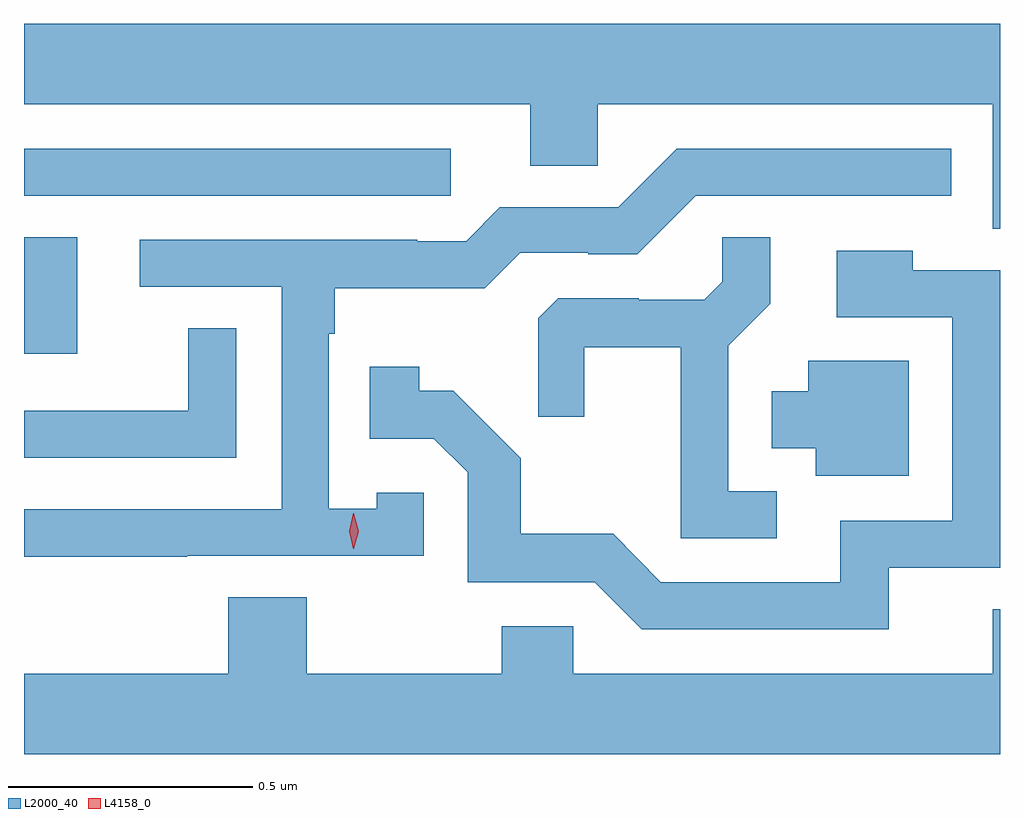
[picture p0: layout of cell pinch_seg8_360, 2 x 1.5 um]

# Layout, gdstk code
import gdstk
lib = gdstk.Library(unit=1e-6, precision=1e-09)
def R(c, l, rs):  # rectangles x0, y0, x1, y1
    for r in rs: c.add(gdstk.rectangle(r[:2], r[2:], *l))
def P(c, l, *ps):  # polygons
    for p in ps: c.add(gdstk.Polygon(p, *l))
L2000_40 = (2000, 40)
L4158_0 = (4158, 0)

pinch_seg8_360 = lib.new_cell('pinch_seg8_360')
R(pinch_seg8_360, L2000_40, [(435,1126.644,435.109,1126.883), (435,1126.968,435.874,1127.064)])
P(pinch_seg8_360, L2000_40, [(437,1127.32),(435,1127.32),(435,1127.156),(436.037,1127.156),(436.037,1127.029),(436.176,1127.029),(436.176,1127.156),(436.985,1127.156),(436.985,1126.9),(437,1126.9)],
  [(435.335,1126.23),(435.819,1126.23),(435.819,1126.359),(435.723,1126.359),(435.723,1126.327),(435.624,1126.327),(435.624,1126.685),(435.637,1126.685),(435.637,1126.778),(435.944,1126.778),(436.017,1126.851),(436.156,1126.851),(436.156,1126.848),(436.257,1126.848),(436.377,1126.968),(436.9,1126.968),(436.9,1127.064),(436.338,1127.064),(436.218,1126.944),(435.975,1126.944),(435.906,1126.875),(435.806,1126.875),(435.806,1126.878),(435.237,1126.878),(435.237,1126.782),(435.528,1126.782),(435.528,1126.326),(435,1126.326),(435,1126.228),(435.335,1126.228)],
  [(436.543,1126.362),(436.443,1126.362),(436.443,1126.661),(436.529,1126.747),(436.529,1126.883),(436.431,1126.883),(436.431,1126.792),(436.394,1126.755),(436.26,1126.755),(436.26,1126.758),(436.095,1126.758),(436.054,1126.717),(436.054,1126.515),(436.148,1126.515),(436.148,1126.658),(436.346,1126.658),(436.346,1126.266),(436.543,1126.266)],
  [(436.772,1126.206),(437,1126.206),(437,1126.815),(436.821,1126.815),(436.821,1126.855),(436.665,1126.855),(436.665,1126.719),(436.902,1126.719),(436.902,1126.302),(436.673,1126.302),(436.673,1126.176),(436.305,1126.176),(436.207,1126.275),(436.018,1126.275),(436.018,1126.43),(435.88,1126.568),(435.81,1126.568),(435.81,1126.618),(435.709,1126.618),(435.709,1126.47),(435.84,1126.47),(435.909,1126.401),(435.909,1126.176),(436.17,1126.176),(436.266,1126.08),(436.772,1126.08)],
  [(435.435,1126.697),(435.337,1126.697),(435.337,1126.527),(435,1126.527),(435,1126.431),(435.435,1126.431)],
  [(436.813,1126.63),(436.607,1126.63),(436.607,1126.567),(436.532,1126.567),(436.532,1126.451),(436.622,1126.451),(436.622,1126.394),(436.813,1126.394)],
  [(437,1126.121),(436.985,1126.121),(436.985,1125.988),(436.125,1125.988),(436.125,1126.086),(435.979,1126.086),(435.979,1125.988),(435.579,1125.988),(435.579,1126.145),(435.419,1126.145),(435.419,1125.988),(435,1125.988),(435,1125.824),(437,1125.824)])
P(pinch_seg8_360, L4158_0, [(435.675,1126.245),(435.666,1126.281),(435.675,1126.317),(435.676,1126.317),(435.676,1126.317),(435.686,1126.281),(435.676,1126.245),(435.676,1126.245)])

lib.write_gds('pinch_seg8_360.gds')
